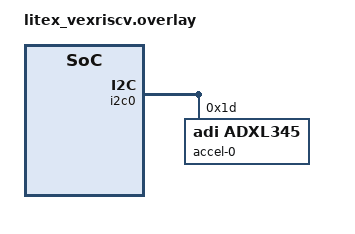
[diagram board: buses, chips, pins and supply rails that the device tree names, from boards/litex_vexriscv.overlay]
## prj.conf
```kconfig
# Copyright 2020 The TensorFlow Authors. All Rights Reserved.
#
# Licensed under the Apache License, Version 2.0 (the "License");
# you may not use this file except in compliance with the License.
# You may obtain a copy of the License at
#
#     http://www.apache.org/licenses/LICENSE-2.0
#
# Unless required by applicable law or agreed to in writing, software
# distributed under the License is distributed on an "AS IS" BASIS,
# WITHOUT WARRANTIES OR CONDITIONS OF ANY KIND, either express or implied.
# See the License for the specific language governing permissions and
# limitations under the License.
# ==============================================================================
CONFIG_CPLUSPLUS=y
CONFIG_NEWLIB_LIBC=y
CONFIG_SENSOR=y
CONFIG_ADXL345=y
CONFIG_PWM=n
CONFIG_PWM_LITEX=n
CONFIG_NETWORKING=n
CONFIG_MAIN_STACK_SIZE=4096
```

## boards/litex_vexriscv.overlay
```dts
/* Copyright 2019 The TensorFlow Authors. All Rights Reserved.

Licensed under the Apache License, Version 2.0 (the "License");
you may not use this file except in compliance with the License.
You may obtain a copy of the License at

    http://www.apache.org/licenses/LICENSE-2.0

Unless required by applicable law or agreed to in writing, software
distributed under the License is distributed on an "AS IS" BASIS,
WITHOUT WARRANTIES OR CONDITIONS OF ANY KIND, either express or implied.
See the License for the specific language governing permissions and
limitations under the License.
==============================================================================*/

&i2c0 {
	label = "I2C0";
	reg = <0xe0003000 0x4 0xe0003004 0x4>;

	adxl@1d {
		compatible = "adi,adxl345";
		label = "accel-0";
		reg = <0x1d>;
	};

};

&pwm0 {
	status = "disabled";
};

&eth0 {
	status = "disabled";
};

&prbs0 {
	status = "disabled";
};
```

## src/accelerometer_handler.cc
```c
/* Copyright 2019 The TensorFlow Authors. All Rights Reserved.

Licensed under the Apache License, Version 2.0 (the "License");
you may not use this file except in compliance with the License.
You may obtain a copy of the License at

    http://www.apache.org/licenses/LICENSE-2.0

Unless required by applicable law or agreed to in writing, software
distributed under the License is distributed on an "AS IS" BASIS,
WITHOUT WARRANTIES OR CONDITIONS OF ANY KIND, either express or implied.
See the License for the specific language governing permissions and
limitations under the License.
==============================================================================*/

#include "tensorflow/lite/micro/examples/magic_wand/accelerometer_handler.h"

#include <device.h>
#include <drivers/sensor.h>
#include <stdio.h>
#include <string.h>
#include <zephyr.h>

#define BUFLEN 300
int begin_index = 0;
struct device* sensor = NULL;
int current_index = 0;

float bufx[BUFLEN] = {0.0f};
float bufy[BUFLEN] = {0.0f};
float bufz[BUFLEN] = {0.0f};

bool initial = true;

TfLiteStatus SetupAccelerometer(tflite::ErrorReporter* error_reporter) {
  sensor = device_get_binding(DT_INST_0_ADI_ADXL345_LABEL);
  if (sensor == NULL) {
    TF_LITE_REPORT_ERROR(error_reporter,
                         "Failed to get accelerometer, label: %s\n",
                         DT_INST_0_ADI_ADXL345_LABEL);
  } else {
    TF_LITE_REPORT_ERROR(error_reporter, "Got accelerometer, label: %s\n",
                         DT_INST_0_ADI_ADXL345_LABEL);
  }
  return kTfLiteOk;
}

bool ReadAccelerometer(tflite::ErrorReporter* error_reporter, float* input,
                       int length) {
  int rc;
  struct sensor_value accel[3];
  int samples_count;

  rc = sensor_sample_fetch(sensor);
  if (rc < 0) {
    TF_LITE_REPORT_ERROR(error_reporter, "Fetch failed\n");
    return false;
  }
  // skip if there is no data
  if (!rc) {
    return false;
  }

  samples_count = rc;
  for (int i = 0; i < samples_count; i++) {
    rc = sensor_channel_get(sensor, SENSOR_CHAN_ACCEL_XYZ, accel);
    if (rc < 0) {
      TF_LITE_REPORT_ERROR(error_reporter, "ERROR: Update failed: %d\n", rc);
      return false;
    }
    bufx[begin_index] = (float)sensor_value_to_double(&accel[0]);
    bufy[begin_index] = (float)sensor_value_to_double(&accel[1]);
    bufz[begin_index] = (float)sensor_value_to_double(&accel[2]);
    begin_index++;
    if (begin_index >= BUFLEN) begin_index = 0;
  }

  if (initial && begin_index >= 100) {
    initial = false;
  }

  if (initial) {
    return false;
  }

  int sample = 0;
  for (int i = 0; i < (length - 3); i += 3) {
    int ring_index = begin_index + sample - length / 3;
    if (ring_index < 0) {
      ring_index += BUFLEN;
    }
    input[i] = bufx[ring_index];
    input[i + 1] = bufy[ring_index];
    input[i + 2] = bufz[ring_index];
    sample++;
  }
  return true;
}
```

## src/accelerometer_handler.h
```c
/* Copyright 2019 The TensorFlow Authors. All Rights Reserved.

Licensed under the Apache License, Version 2.0 (the "License");
you may not use this file except in compliance with the License.
You may obtain a copy of the License at

    http://www.apache.org/licenses/LICENSE-2.0

Unless required by applicable law or agreed to in writing, software
distributed under the License is distributed on an "AS IS" BASIS,
WITHOUT WARRANTIES OR CONDITIONS OF ANY KIND, either express or implied.
See the License for the specific language governing permissions and
limitations under the License.
==============================================================================*/

#ifndef TENSORFLOW_LITE_MICRO_EXAMPLES_MAGIC_WAND_ACCELEROMETER_HANDLER_H_
#define TENSORFLOW_LITE_MICRO_EXAMPLES_MAGIC_WAND_ACCELEROMETER_HANDLER_H_

#define kChannelNumber 3

#include "tensorflow/lite/c/c_api_internal.h"
#include "tensorflow/lite/micro/micro_error_reporter.h"

extern int begin_index;
extern TfLiteStatus SetupAccelerometer(tflite::ErrorReporter* error_reporter);
extern bool ReadAccelerometer(tflite::ErrorReporter* error_reporter,
                              float* input, int length, bool reset_buffer);

#endif  // TENSORFLOW_LITE_MICRO_EXAMPLES_MAGIC_WAND_ACCELEROMETER_HANDLER_H_
```
